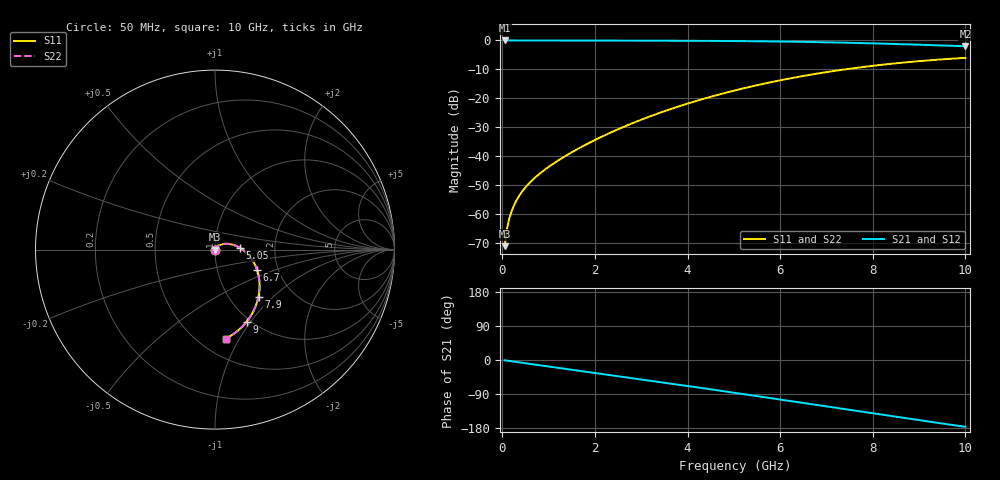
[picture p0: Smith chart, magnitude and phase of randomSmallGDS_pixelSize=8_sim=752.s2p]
! freq	dB(S11)	phase(S11)	dB(S12)	phase(S12)
!  dB(S21)	phase(S21)	dB(S22)	phase(S22)
!S-par simulation data
#  GHz  S  DB  R 50
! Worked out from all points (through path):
!   200 points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, 50 MHz to 10 GHz, reference 50 ohm
!   highest |S21| = 0.00 dB at 50 MHz (marker M1); lowest = -2.0 dB at 10 GHz (marker M2)
!   group delay of S21, straight-line fit = 49.3 ps
!   lowest |S11| = -71.1 dB at 50 MHz (marker M3), VSWR 1.00, Z = 50 + j0.0276 ohm
!   |S11| at or under -10 dB: start of sweep to 7.4 GHz
!   |S22| runs from -71.1 to -6.0 dB; largest |S21 - S12| = 0
!   S11 on the Smith chart (normalised r, x): 50 MHz: 1.00, +0.00; 5.05 GHz: 1.32, +0.03; 6.7 GHz: 1.56, -0.37; 7.9 GHz: 1.36, -0.81; 9 GHz: 0.96, -0.96; 10 GHz: 0.66, -0.88
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0.05  -71.11 82.6  -0.00 -0.9  -0.00 -0.9  -71.11 82.6
0.1  -65.13 85.2  -0.00 -1.7  -0.00 -1.7  -65.13 85.2
0.15  -61.59 85.5  -0.00 -2.6  -0.00 -2.6  -61.59 85.5
0.2  -59.07 85.4  -0.00 -3.4  -0.00 -3.4  -59.07 85.4
0.3  -55.47 84.4  -0.00 -5.1  -0.00 -5.1  -55.47 84.4
0.45  -51.78 82.6  -0.01 -7.7  -0.01 -7.7  -51.78 82.5
0.65  -48.25 79.8  -0.01 -11.1  -0.01 -11.1  -48.25 79.8
0.95  -44.28 75.3  -0.02 -16.1  -0.02 -16.1  -44.28 75.3
1.3  -40.55 69.9  -0.03 -22.1  -0.03 -22.1  -40.55 69.9
1.75  -36.46 62.6  -0.03 -29.7  -0.03 -29.7  -36.46 62.6
2.55  -30.35 48.9  -0.05 -43.3  -0.05 -43.3  -30.35 48.9
3.4  -25.02 33.8  -0.08 -58.0  -0.08 -58.0  -25.02 33.8
4.25  -20.62 18.7  -0.13 -72.9  -0.13 -72.9  -20.62 18.7
5.05  -17.17 4.4  -0.21 -87.2  -0.21 -87.2  -17.17 4.3
5.85  -14.27 -10.1  -0.34 -101.7  -0.34 -101.7  -14.27 -10.1
6.7  -11.72 -25.6  -0.54 -117.2  -0.54 -117.2  -11.72 -25.6
7.3  -10.23 -36.4  -0.73 -128.2  -0.73 -128.2  -10.23 -36.4
7.9  -8.96 -47.2  -0.96 -139.1  -0.96 -139.1  -8.96 -47.2
8.35  -8.14 -55.1  -1.16 -147.3  -1.16 -147.3  -8.14 -55.1
9  -7.15 -66.4  -1.47 -158.9  -1.47 -158.9  -7.15 -66.4
9.5  -6.53 -74.9  -1.73 -167.7  -1.73 -167.7  -6.53 -74.9
10  -6.02 -83.2  -2.00 -176.3  -2.00 -176.3  -6.02 -83.2
